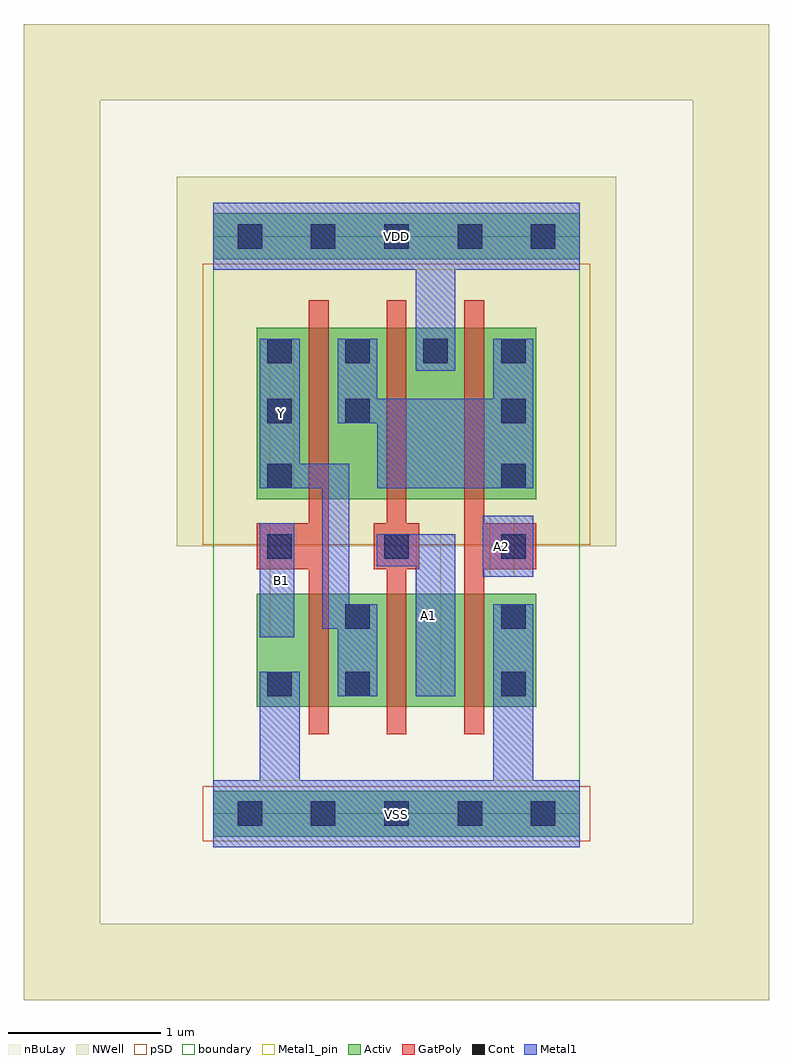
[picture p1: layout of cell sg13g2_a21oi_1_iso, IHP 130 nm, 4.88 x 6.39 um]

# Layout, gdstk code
import gdstk
lib = gdstk.Library(unit=1e-6, precision=1e-09)
def R(c, l, rs):  # rectangles x0, y0, x1, y1
    for r in rs: c.add(gdstk.rectangle(r[:2], r[2:], *l))
def A(c, l, x, y, w, h, nx, ny, dx, dy):  # array of equal rectangles
    R(c, l, [(x+i*dx, y+j*dy, x+i*dx+w, y+j*dy+h) for i in range(nx) for j in range(ny)])
def P(c, l, *ps):  # polygons
    for p in ps: c.add(gdstk.Polygon(p, *l))
Activ = (1, 0)
GatPoly = (5, 0)
Cont = (6, 0)
Metal1 = (8, 0)
Metal1_pin = (8, 2)
pSD = (14, 0)
NWell = (31, 0)
nBuLay = (32, 0)
boundary = (189, 4)

sg13g2_a21oi_1_iso = lib.new_cell('sg13g2_a21oi_1_iso')
R(sg13g2_a21oi_1_iso, Activ, [(0,-0.15,2.4,0.15), (0.285,0.7,2.115,1.44), (0.285,2.06,2.115,3.18), (0,3.63,2.4,3.93)])
P(sg13g2_a21oi_1_iso, GatPoly, [(2.115,1.9),(1.775,1.9),(1.775,3.36),(1.645,3.36),(1.645,0.52),(1.775,0.52),(1.775,1.6),(2.115,1.6)],
  [(1.35,1.9),(1.265,1.9),(1.265,3.36),(1.135,3.36),(1.135,1.9),(1.05,1.9),(1.05,1.6),(1.135,1.6),(1.135,0.52),(1.265,0.52),(1.265,1.6),(1.35,1.6)],
  [(0.755,3.36),(0.625,3.36),(0.625,1.9),(0.285,1.9),(0.285,1.6),(0.625,1.6),(0.625,0.52),(0.755,0.52)])
A(sg13g2_a21oi_1_iso, Cont, 0.16, -0.08, 0.16, 0.16, 5, 2, 0.48, 3.78)
A(sg13g2_a21oi_1_iso, Cont, 0.355, 1.67, 0.16, 0.16, 3, 1, 0.765, 0)
A(sg13g2_a21oi_1_iso, Cont, 0.355, 2.95, 0.16, 0.16, 4, 1, 0.51, 0)
R(sg13g2_a21oi_1_iso, Cont, [(0.355,0.77,0.515,0.93), (0.865,0.77,1.025,0.93), (1.885,0.77,2.045,0.93), (0.865,1.21,1.025,1.37), (1.885,1.21,2.045,1.37), (0.355,2.13,0.515,2.29), (1.885,2.13,2.045,2.29), (0.355,2.555,0.515,2.715), (0.865,2.555,1.025,2.715), (1.885,2.555,2.045,2.715)])
R(sg13g2_a21oi_1_iso, Metal1, [(0.305,1.155,0.53,1.9), (1.765,1.55,2.095,1.95)])
P(sg13g2_a21oi_1_iso, Metal1, [(2.095,3.11),(1.835,3.11),(1.835,2.715),(1.075,2.715),(1.075,3.11),(0.815,3.11),(0.815,2.555),(1.075,2.555),(1.075,2.13),(2.095,2.13)],
  [(1.585,1.83),(1.07,1.83),(1.07,1.62),(1.325,1.62),(1.325,0.77),(1.585,0.77)],
  [(2.4,4),(0,4),(0,3.56),(1.325,3.56),(1.325,2.9),(1.585,2.9),(1.585,3.56),(2.4,3.56)],
  [(2.4,0.22),(2.095,0.22),(2.095,1.37),(1.835,1.37),(1.835,0.22),(0.565,0.22),(0.565,0.93),(0.305,0.93),(0.305,0.22),(0,0.22),(0,-0.22),(2.4,-0.22)],
  [(1.075,1.37),(0.89,1.37),(0.89,2.29),(0.565,2.29),(0.565,3.11),(0.305,3.11),(0.305,2.13),(0.715,2.13),(0.715,1.21),(0.815,1.21),(0.815,0.77),(1.075,0.77)])
R(sg13g2_a21oi_1_iso, Metal1_pin, [(0,-0.22,2.4,0.22), (1.33,0.77,1.49,1.83), (0.37,1.155,0.53,1.9), (1.81,1.55,1.97,1.95), (0.37,2.13,0.53,3.11), (0,3.56,2.4,4)])
R(sg13g2_a21oi_1_iso, pSD, [(-0.07,-0.18,2.47,0.18), (-0.07,1.76,2.47,3.6)])
R(sg13g2_a21oi_1_iso, NWell, [(-1.24,-1.22,3.64,-0.72), (-1.24,-0.72,-0.74,4.67), (3.14,-0.72,3.64,4.67), (-0.24,1.75,2.64,4.17), (-1.24,4.67,3.64,5.17)])
P(sg13g2_a21oi_1_iso, nBuLay, [(3.64,5.17),(-1.24,5.17),(-1.24,3.63),(0,3.63),(0,3.93),(2.4,3.93),(2.4,3.63),(0,3.63),(-1.24,3.63),(-1.24,-1.22),(3.64,-1.22)])
R(sg13g2_a21oi_1_iso, boundary, [(0,0,2.4,3.78)])
sg13g2_a21oi_1_iso.add(gdstk.Label('VDD', (1.2,3.78), layer=8, texttype=25))
sg13g2_a21oi_1_iso.add(gdstk.Label('VSS', (1.2,-0.005), layer=8, texttype=25))
sg13g2_a21oi_1_iso.add(gdstk.Label('A2', (1.89,1.75), layer=8, texttype=25))
sg13g2_a21oi_1_iso.add(gdstk.Label('A1', (1.41,1.3), layer=8, texttype=25))
sg13g2_a21oi_1_iso.add(gdstk.Label('B1', (0.45,1.527), layer=8, texttype=25))
sg13g2_a21oi_1_iso.add(gdstk.Label('Y', (0.45,2.62), layer=8, texttype=25))

lib.write_gds('sg13g2_a21oi_1_iso.gds')
